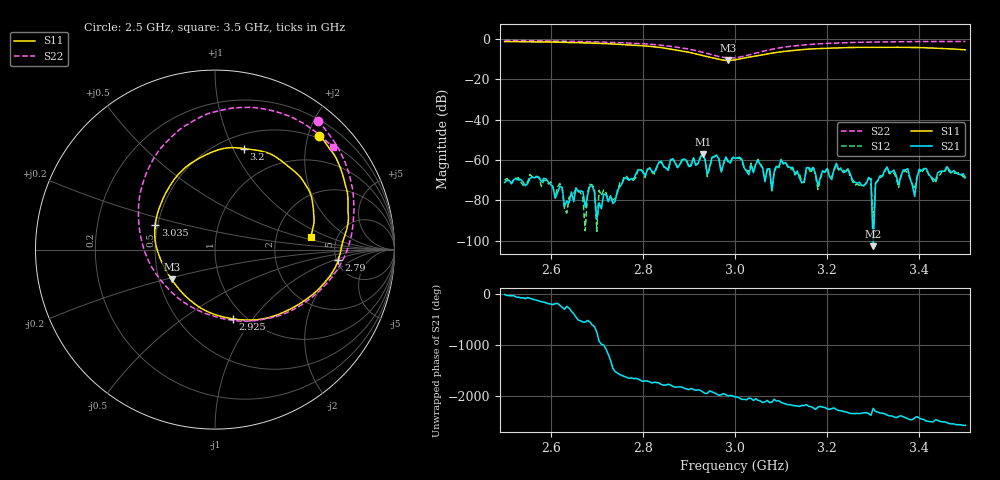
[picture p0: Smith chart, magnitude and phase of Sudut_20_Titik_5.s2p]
# Hz S RI R 50
! CMT, C1220, 16058040, 17.2.0/1
! Date: 15/08/2018 10:22:45
! Data: Format (Calibration Info)
! Freq  S11: Re/Im (F2)  S21: Re/Im (F2)  S12: Re/Im (F2)  S22: Re/Im (F2)
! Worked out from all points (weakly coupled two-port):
!   201 points, 2.5 GHz to 3.5 GHz, reference 50 ohm
!   highest |S21| = -57.16 dB at 2.93 GHz (marker M1); lowest = -102.8 dB at 3.3 GHz (marker M2)
!   lowest |S11| = -10.7 dB at 2.985 GHz (marker M3), VSWR 1.83, Z = 29.1 - j10.6 ohm
!   |S11| at or under -10 dB: 2.963 GHz to 3.008 GHz (45.24 MHz wide, 1.52 % of centre)
!   |S22| runs from -9.4 to -0.7 dB; largest |S21 - S12| = 0.00014
!   S11 on the Smith chart (normalised r, x): 2.5 GHz: 0.45, +2.19; 2.79 GHz: 5.19, -1.13; 2.925 GHz: 0.88, -0.81; 3.035 GHz: 0.48, +0.15; 3.2 GHz: 0.64, +1.10; 3.5 GHz: 3.19, +0.65
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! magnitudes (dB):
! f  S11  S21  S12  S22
! 2.5 GHz  -1.3  -71.2  -70.1  -0.7
! 2.67 GHz  -1.9  -75.8  -79.1  -1.3
! 2.74 GHz  -2.6  -80.5  -79.0  -1.8
! 2.79 GHz  -3.2  -65.0  -64.7  -2.2
! 2.835 GHz  -4.1  -61.1  -61.5  -3.0
! 2.925 GHz  -8.0  -58.3  -58.8  -6.3
! 2.93 GHz  -8.3  -57.2  -57.3  -6.6
! 2.94 GHz  -8.8  -67.1  -68.3  -7.2
! 2.985 GHz  -10.7  -60.5  -61.0  -9.3
! 3 GHz  -10.3  -59.2  -58.6  -9.3
! 3.035 GHz  -8.9  -62.6  -61.6  -7.6
! 3.08 GHz  -7.0  -75.0  -75.4  -5.1
! 3.1 GHz  -6.4  -59.8  -60.2  -4.3
! 3.17 GHz  -4.9  -63.8  -63.3  -2.6
! 3.18 GHz  -4.8  -72.8  -74.8  -2.4
! 3.2 GHz  -4.6  -64.3  -63.9  -2.2
! 3.3 GHz  -4.2  -102.8  -93.9  -1.5
! 3.335 GHz  -4.1  -66.2  -66.9  -1.4
! 3.375 GHz  -4.2  -64.4  -66.3  -1.3
! 3.39 GHz  -4.2  -78.1  -74.5  -1.3
! 3.4 GHz  -4.2  -64.7  -64.8  -1.3
! 3.5 GHz  -5.4  -68.8  -69.0  -1.2
